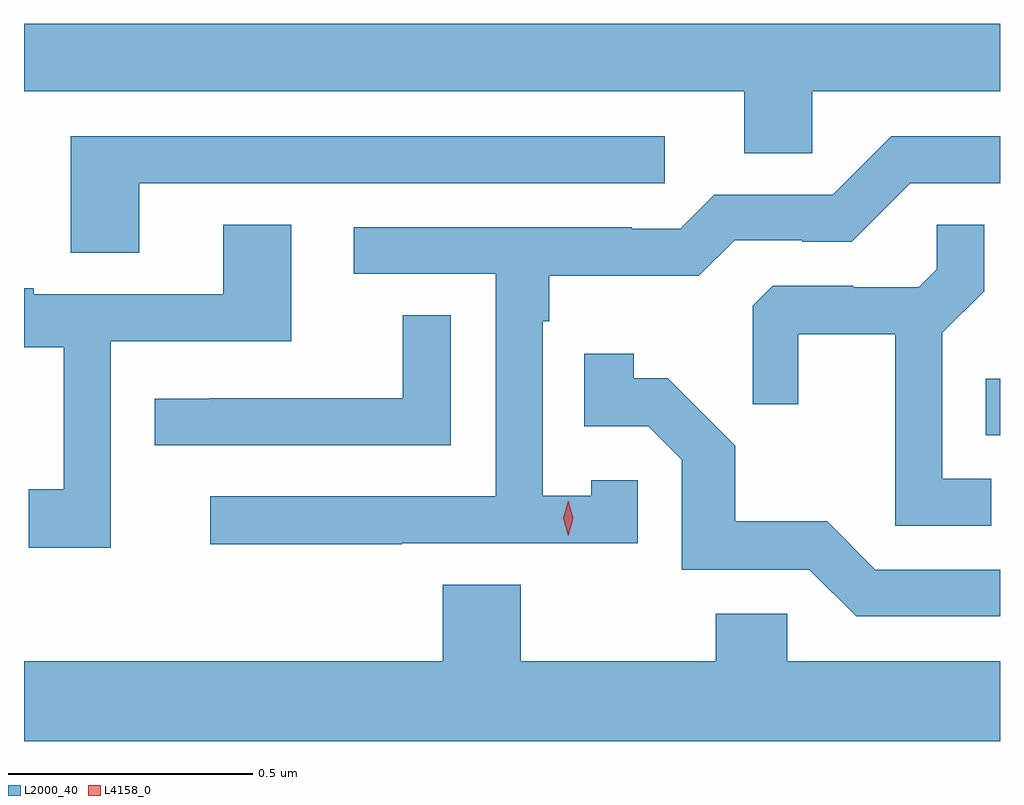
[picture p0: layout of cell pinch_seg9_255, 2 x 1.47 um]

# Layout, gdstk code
import gdstk
lib = gdstk.Library(unit=1e-6, precision=1e-09)
def R(c, l, rs):  # rectangles x0, y0, x1, y1
    for r in rs: c.add(gdstk.rectangle(r[:2], r[2:], *l))
def P(c, l, *ps):  # polygons
    for p in ps: c.add(gdstk.Polygon(p, *l))
L2000_40 = (2000, 40)
L4158_0 = (4158, 0)

pinch_seg9_255 = lib.new_cell('pinch_seg9_255')
R(pinch_seg9_255, L2000_40, [(451.406,1246.331,451.435,1246.447)])
P(pinch_seg9_255, L2000_40, [(451.05,1247.036),(451.435,1247.036),(451.435,1247.175),(449.435,1247.175),(449.435,1247.036),(450.911,1247.036),(450.911,1246.909),(451.05,1246.909)],
  [(450.209,1246.11),(450.693,1246.11),(450.693,1246.239),(450.597,1246.239),(450.597,1246.207),(450.498,1246.207),(450.498,1246.565),(450.511,1246.565),(450.511,1246.658),(450.818,1246.658),(450.891,1246.731),(451.03,1246.731),(451.03,1246.728),(451.131,1246.728),(451.251,1246.848),(451.435,1246.848),(451.435,1246.944),(451.212,1246.944),(451.092,1246.824),(450.849,1246.824),(450.78,1246.755),(450.68,1246.755),(450.68,1246.758),(450.111,1246.758),(450.111,1246.662),(450.402,1246.662),(450.402,1246.206),(449.817,1246.206),(449.817,1246.108),(450.209,1246.108)],
  [(449.671,1246.848),(450.748,1246.848),(450.748,1246.944),(449.531,1246.944),(449.531,1246.705),(449.671,1246.705)],
  [(449.613,1246.524),(449.983,1246.524),(449.983,1246.763),(449.843,1246.763),(449.843,1246.62),(449.455,1246.62),(449.455,1246.633),(449.435,1246.633),(449.435,1246.512),(449.516,1246.512),(449.516,1246.221),(449.445,1246.221),(449.445,1246.101),(449.613,1246.101)],
  [(451.417,1246.242),(451.317,1246.242),(451.317,1246.541),(451.403,1246.627),(451.403,1246.763),(451.305,1246.763),(451.305,1246.672),(451.268,1246.635),(451.134,1246.635),(451.134,1246.638),(450.969,1246.638),(450.928,1246.597),(450.928,1246.395),(451.022,1246.395),(451.022,1246.538),(451.22,1246.538),(451.22,1246.146),(451.417,1246.146)],
  [(450.309,1246.577),(450.211,1246.577),(450.211,1246.407),(449.815,1246.407),(449.815,1246.406),(449.703,1246.406),(449.703,1246.311),(450.309,1246.311)],
  [(451.435,1246.056),(451.179,1246.056),(451.081,1246.155),(450.892,1246.155),(450.892,1246.31),(450.754,1246.448),(450.684,1246.448),(450.684,1246.498),(450.583,1246.498),(450.583,1246.35),(450.714,1246.35),(450.783,1246.281),(450.783,1246.056),(451.044,1246.056),(451.14,1245.96),(451.435,1245.96)],
  [(451.435,1245.868),(450.999,1245.868),(450.999,1245.966),(450.853,1245.966),(450.853,1245.868),(450.453,1245.868),(450.453,1246.025),(450.293,1246.025),(450.293,1245.868),(449.435,1245.868),(449.435,1245.704),(451.435,1245.704)])
P(pinch_seg9_255, L4158_0, [(450.55,1246.125),(450.55,1246.125),(450.54,1246.161),(450.55,1246.197),(450.55,1246.197),(450.55,1246.197),(450.56,1246.161),(450.55,1246.125)])

lib.write_gds('pinch_seg9_255.gds')
